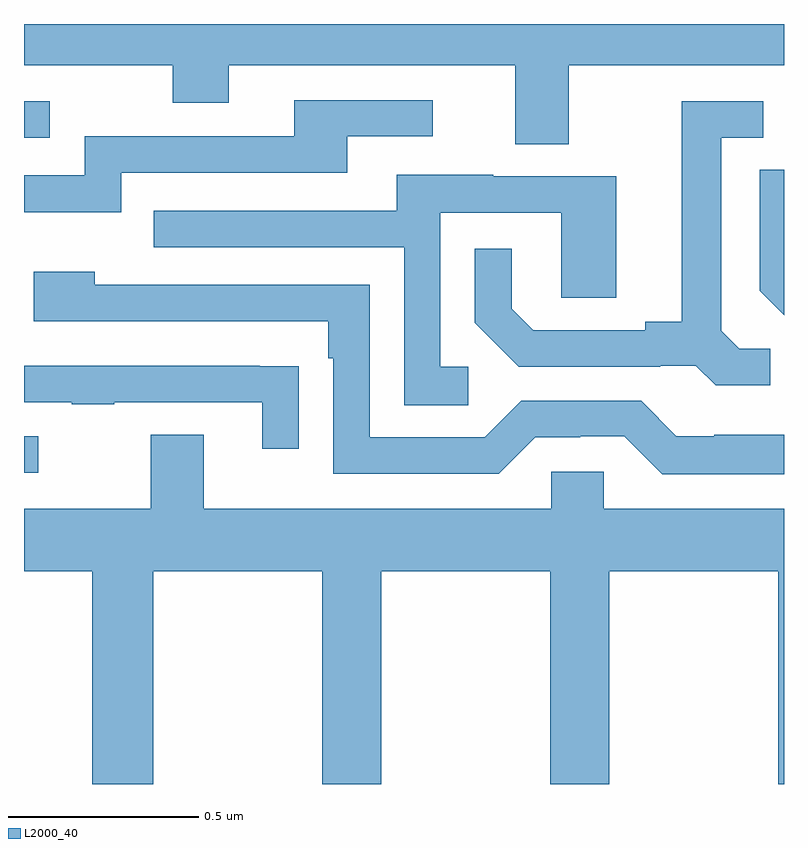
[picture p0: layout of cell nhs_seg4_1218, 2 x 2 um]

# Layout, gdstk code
import gdstk
lib = gdstk.Library(unit=1e-6, precision=1e-09)
def R(c, l, rs):  # rectangles x0, y0, x1, y1
    for r in rs: c.add(gdstk.rectangle(r[:2], r[2:], *l))
def P(c, l, *ps):  # polygons
    for p in ps: c.add(gdstk.Polygon(p, *l))
L2000_40 = (2000, 40)

nhs_seg4_1218 = lib.new_cell('nhs_seg4_1218')
R(nhs_seg4_1218, L2000_40, [(125,823.719,125.038,823.815), (125,824.601,125.068,824.697)])
P(nhs_seg4_1218, L2000_40, [(126.433,824.792),(127,824.792),(127,824.9),(125,824.9),(125,824.792),(125.392,824.792),(125.392,824.693),(125.539,824.693),(125.539,824.792),(126.293,824.792),(126.293,824.584),(126.433,824.584)],
  [(125.256,824.508),(125.851,824.508),(125.851,824.604),(126.076,824.604),(126.076,824.7),(125.711,824.7),(125.711,824.604),(125.16,824.604),(125.16,824.502),(125,824.502),(125,824.405),(125.256,824.405)],
  [(126.964,824.046),(126.882,824.046),(126.835,824.093),(126.835,824.601),(126.946,824.601),(126.946,824.697),(126.731,824.697),(126.731,824.117),(126.635,824.117),(126.635,824.094),(126.34,824.094),(126.283,824.151),(126.283,824.308),(126.186,824.308),(126.186,824.114),(126.302,823.998),(126.674,823.998),(126.674,824.001),(126.768,824.001),(126.82,823.949),(126.964,823.949)],
  [(127,824.516),(126.936,824.516),(126.936,824.198),(127,824.134)],
  [(126.169,823.998),(126.096,823.998),(126.096,824.403),(126.414,824.403),(126.414,824.179),(126.559,824.179),(126.559,824.499),(126.235,824.499),(126.235,824.503),(125.981,824.503),(125.981,824.409),(125.341,824.409),(125.341,824.313),(126,824.313),(126,823.897),(126.169,823.897)],
  [(127,823.819),(126.817,823.819),(126.817,823.815),(126.717,823.815),(126.624,823.908),(126.309,823.908),(126.213,823.812),(125.91,823.812),(125.91,824.214),(125.186,824.214),(125.186,824.248),(125.025,824.248),(125.025,824.118),(125.801,824.118),(125.801,824.021),(125.814,824.021),(125.814,823.716),(126.249,823.716),(126.345,823.812),(126.464,823.812),(126.464,823.815),(126.579,823.815),(126.679,823.715),(127,823.715)],
  [(125.723,824),(125.621,824),(125.621,824.001),(125,824.001),(125,823.905),(125.125,823.905),(125.125,823.9),(125.237,823.9),(125.237,823.905),(125.627,823.905),(125.627,823.782),(125.723,823.782)],
  [(125.34,823.46),(125.785,823.46),(125.785,822.9),(125.94,822.9),(125.94,823.46),(126.385,823.46),(126.385,822.9),(126.54,822.9),(126.54,823.46),(126.985,823.46),(126.985,822.9),(127,822.9),(127,823.624),(126.525,823.624),(126.525,823.722),(126.387,823.722),(126.387,823.624),(125.473,823.624),(125.473,823.819),(125.333,823.819),(125.333,823.624),(125,823.624),(125,823.46),(125.18,823.46),(125.18,822.9),(125.34,822.9)])

lib.write_gds('nhs_seg4_1218.gds')
